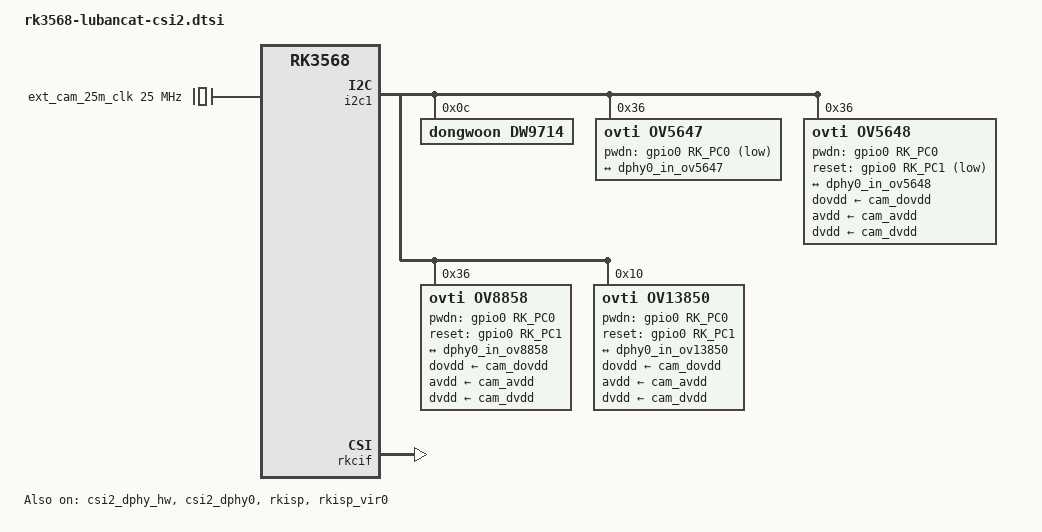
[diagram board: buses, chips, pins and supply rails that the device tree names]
// SPDX-License-Identifier: (GPL-2.0+ OR MIT)
/*
 * Copyright (c) 2020 Rockchip Electronics Co., Ltd.
 *
 */

/ {
	ext_cam_25m_clk: external-camera-25m-clock {
		compatible = "fixed-clock";
		clock-frequency = <25000000>;
		clock-output-names = "ext_cam_25m_clk";
		#clock-cells = <0>;
	};
};

&i2c1 {
	// ov5648 Camare
	dw9714: dw9714@0c {
		status = "okay";
		compatible = "dongwoon,dw9714";
		reg = <0x0c>;
		rockchip,camera-module-index = <0>;
		rockchip,vcm-max-current = <100>;
		rockchip,vcm-start-current = <0>;
		rockchip,vcm-rated-current = <100>;
		rockchip,vcm-step-mode = <0xd>;
		rockchip,vcm-dlc-enable = <0>;
		rockchip,vcm-mclk = <0>;	
		rockchip,vcm-t-src = <0>;
		rockchip,camera-module-facing = "back";
	};

	ov5647: ov5647@36 {
		compatible = "ovti,ov5647";
		reg = <0x36>;
		clocks = <&ext_cam_25m_clk>;
		clock-names = "ext_cam_25m_clk";
		pwdn-gpios = <&gpio0 RK_PC0 GPIO_ACTIVE_LOW>;
		lens-focus = <&dw9714>;

		port {
			ov5647_out: endpoint {
				remote-endpoint = <&dphy0_in_ov5647>;
				data-lanes = <1 2>;
			};
		};
	};

	ov5648: camera@36 {
		compatible = "ovti,ov5648";
		reg = <0x36>;
		clocks = <&ext_cam_clk>;
		clock-names = "xvclk";
		dovdd-supply= <&cam_dovdd>; /* 1.8v */
		avdd-supply = <&cam_avdd>;  /* 2.8v */
		dvdd-supply = <&cam_dvdd>;  /* 1.2v */
		pwdn-gpios = <&gpio0 RK_PC0 GPIO_ACTIVE_HIGH>;
		reset-gpios = <&gpio0 RK_PC1 GPIO_ACTIVE_LOW>;
		rotation = <180>;
		status = "okay";

		rockchip,camera-module-index = <0>;
		rockchip,camera-module-facing = "back";
		rockchip,camera-module-name = "THDS11073";
		rockchip,camera-module-lens-name = "Largan-40122a1";
		lens-focus = <&dw9714>;

		port {
			/* MIPI CSI-2 bus endpoint */
			ov5648_out: endpoint {
				remote-endpoint = <&dphy0_in_ov5648>;
				clock-lanes = <0>;
				data-lanes = <1 2>;
			};
		};
	};

	ov8858: ov8858@36 {
		compatible = "ovti,ov8858";
		reg = <0x36>;
		clocks = <&ext_cam_clk>;
		clock-names = "xvclk";
		dovdd-supply= <&cam_dovdd>; /* 1.8v */
		avdd-supply = <&cam_avdd>;  /* 2.8v */
		dvdd-supply = <&cam_dvdd>;  /* 1.2v */
		pwdn-gpios = <&gpio0 RK_PC0 GPIO_ACTIVE_HIGH>;
		reset-gpios = <&gpio0 RK_PC1 GPIO_ACTIVE_HIGH>;
		rotation = <180>;
		status = "okay";

		rockchip,camera-module-index = <1>;
		rockchip,camera-module-facing = "back";
		rockchip,camera-module-name = "HS5885-BNSM1018-V01";
		rockchip,camera-module-lens-name = "default";
		lens-focus = <&dw9714>;

		port {
			/* MIPI CSI-2 bus endpoint */
			ov8858_out: endpoint {
				remote-endpoint = <&dphy0_in_ov8858>;
				clock-lanes = <0>;
				data-lanes = <1 2>;
			};
		};
	};

   ov13850: ov13850@10 {
		compatible = "ovti,ov13850";
		reg = <0x10>;
		clocks = <&ext_cam_clk>;
		clock-names = "xvclk";
		dovdd-supply= <&cam_dovdd>; /* 1.8v */
		avdd-supply = <&cam_avdd>;  /* 2.8v */
		dvdd-supply = <&cam_dvdd>;  /* 1.2v */
		pwdn-gpios = <&gpio0 RK_PC0 GPIO_ACTIVE_HIGH>;
		reset-gpios = <&gpio0 RK_PC1 GPIO_ACTIVE_HIGH>;
		rotation = <180>;
		status = "okay";

		rockchip,camera-module-index = <2>;
		rockchip,camera-module-facing = "back";
		rockchip,camera-module-name = "ZC-OV13850R2A-V1";
		rockchip,camera-module-lens-name = "Largan-50064B31";
		lens-focus = <&dw9714>;

		port {
			/* MIPI CSI-2 bus endpoint */
			ov13850_out: endpoint {
				remote-endpoint = <&dphy0_in_ov13850>;
				clock-lanes = <0>;
				data-lanes = <1 2 3 4>;
			};
		};
   };
};

&csi2_dphy_hw {
	status = "okay";
};

&csi2_dphy0 {
	status = "okay";
	
	ports {
		#address-cells = <1>;
		#size-cells = <0>;

		port@0 {
			reg = <0>;
			#address-cells = <1>;
			#size-cells = <0>;

			dphy0_in_ov5648: endpoint@1 {
				reg = <1>;
				remote-endpoint = <&ov5648_out>;
				data-lanes = <1 2>;
			};

			dphy0_in_ov8858: endpoint@2 {
				reg = <2>;
				remote-endpoint = <&ov8858_out>;
				data-lanes = <1 2>;
			};

			dphy0_in_ov13850: endpoint@3 {
				reg = <3>;
				remote-endpoint = <&ov13850_out>;
				data-lanes = <1 2 3 4>;
			};

			dphy0_in_ov5647: endpoint@4 {
				reg = <4>;
				remote-endpoint = <&ov5647_out>;
				data-lanes = <1 2>;
			};
		};

		port@1 {
			reg = <1>;
			#address-cells = <1>;
			#size-cells = <0>;

			dphy0_out: endpoint@1 {
				reg = <1>;
				remote-endpoint = <&isp0_in>;
			};
		};
	};
};

&rkisp {
	status = "okay";
};

&rkisp_mmu {
	status = "okay";
};

&rkisp_vir0 {
	status = "okay";

	port {
		#address-cells = <1>;
		#size-cells = <0>;

		isp0_in: endpoint@0 {
			reg = <0>;
			// csi2 dphy端的 port名
			remote-endpoint = <&dphy0_out>;
		};
	};
};

&rkcif_mmu {
	status = "okay";
};

&rkcif {
	status = "okay";
};

